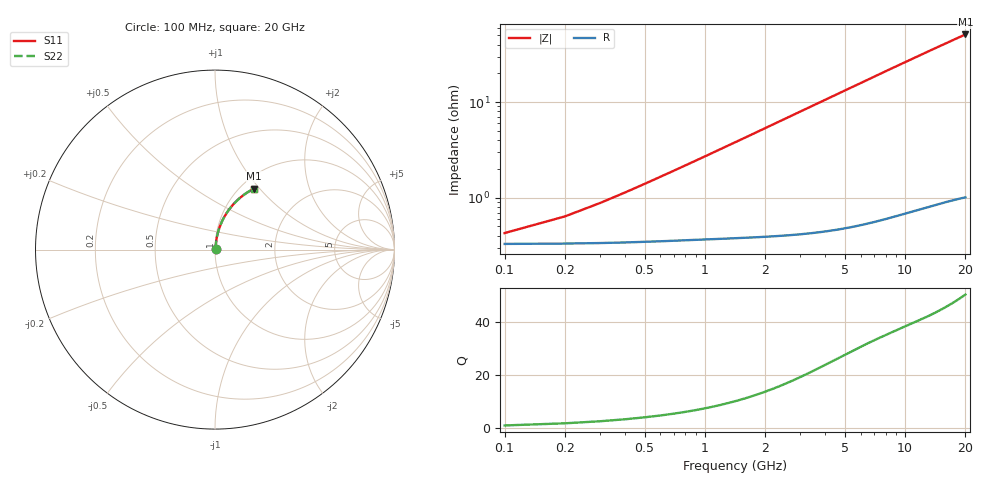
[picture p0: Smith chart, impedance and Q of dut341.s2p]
! Touchstone file exported from HFSS 2026.1.0
!  File:  C:/ffzhzh/LocalFiles/Ansys_Project_Files/temp_train_BSMRDL_341_1783011212_4048.aedt
!  Generated:  12:55:03 AM Jul  3, 2026
!  Design:  BSMRDL
!  Project:  temp_train_BSMRDL_341_1783011212_4048
! Variables:
!  h_bsmrdl = 3.26um
!  h_ox = 20um
!  h_rdl = 5um
!  h_sub = 80um
!  h_tmrdl = 5um
!  h_tsv = 80um
!  h_via = 3um
!  l_bsmrdl = 333.05um
!  l_sub = 733.05um
!  l_tmrdl = 200um
!  m_sub = 200um
!  pitch = 58.93um
!  r_tsv = 6um
!  s_tmrdl = 10um
!  w_bsmrdl = 11.45um
!  w_sub = 500um
!  w_tmrdl = 12um
!  x_tsv_center1 = 206um
!  x_tsv_center2 = 550.5um
!  x_tsv_center3 = 762.5um
!  x_tsv_center4 = 1107um
!  x_tsv_center5 = 1319um
!  x_tsv_center6 = 1663.5um
# GHz S MA R 50.000000
! Terminal data exported
! Port[1] = BSM_RDL1_1_T1
! Port[2] = BSM_RDL1_1_T2
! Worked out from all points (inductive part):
!   200 points, 100 MHz to 20 GHz, reference 50 ohm
!   read as one part in series: L = 430 pH near 400 MHz
!   highest Q = 50.5 at 20 GHz (marker M1), where L = 406 pH
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0.1  0.004053 36.0  0.9967 -0.2  0.9967 -0.2  0.004053 36.0
! Gamma 0 0 0 0
! Port Impedance 50 0 50 0
0.2  0.005804 55.0  0.9967 -0.3  0.9967 -0.3  0.005804 55.0
0.3  0.007887 64.4  0.9966 -0.5  0.9966 -0.5  0.007887 64.4
0.4  0.01009 69.7  0.9966 -0.7  0.9966 -0.7  0.01009 69.7
0.5  0.01233 72.9  0.9965 -0.9  0.9965 -0.9  0.01233 72.9
0.6  0.01459 75.1  0.9964 -1.0  0.9964 -1.0  0.01459 75.1
0.8  0.01915 77.9  0.9963 -1.4  0.9963 -1.4  0.01914 77.9
1.1  0.026 80.0  0.996 -1.9  0.996 -1.9  0.026 80.0
1.5  0.03516 81.3  0.9956 -2.6  0.9956 -2.6  0.03516 81.3
1.8  0.04204 81.7  0.9953 -3.1  0.9953 -3.1  0.04204 81.7
2.1  0.04892 81.8  0.9949 -3.6  0.9949 -3.6  0.04892 81.8
2.7  0.06267 81.7  0.994 -4.6  0.994 -4.6  0.06267 81.7
3.5  0.08092 81.0  0.9925 -5.9  0.9925 -5.9  0.08092 81.0
4.2  0.09678 80.2  0.9909 -7.1  0.9909 -7.1  0.09678 80.2
5  0.1148 79.2  0.9887 -8.5  0.9887 -8.5  0.1148 79.2
5.9  0.1348 77.9  0.9858 -9.9  0.9858 -9.9  0.1348 77.9
6.8  0.1545 76.6  0.9826 -11.4  0.9826 -11.4  0.1545 76.6
8.3  0.1868 74.3  0.9765 -13.9  0.9765 -13.9  0.1868 74.3
10.1  0.2243 71.6  0.9679 -16.7  0.9679 -16.7  0.2243 71.6
13.4  0.2894 66.6  0.9495 -21.9  0.9495 -21.9  0.2894 66.6
16.7  0.3495 61.8  0.9284 -26.7  0.9284 -26.7  0.3495 61.9
20  0.4042 57.3  0.9055 -31.4  0.9055 -31.4  0.4042 57.3
